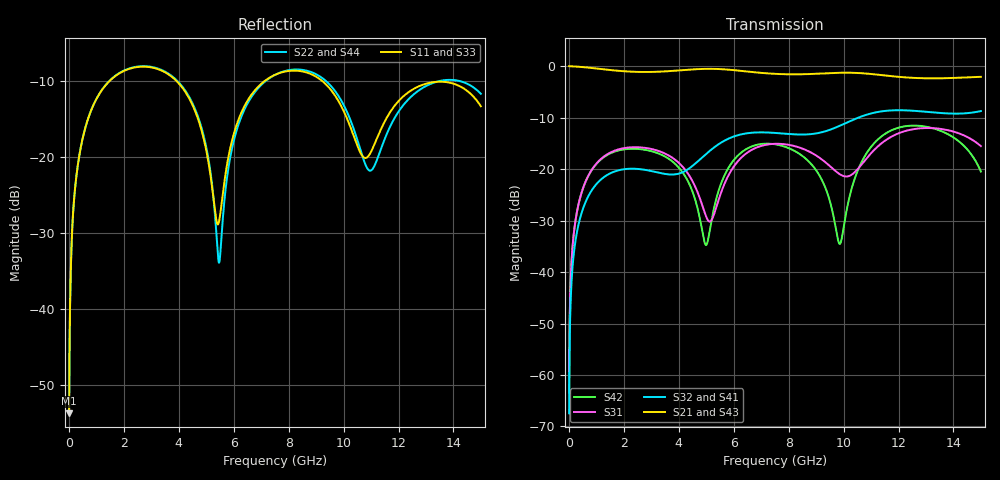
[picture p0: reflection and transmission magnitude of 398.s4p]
! Created with skrf 1.8.0 (http://scikit-rf.org).
# GHz S RI R 50.0
!freq ReS11 ImS11 ReS12 ImS12 ReS13 ImS13
! ReS14 ImS14
! ReS21 ImS21 ReS22 ImS22 ReS23 ImS23
! ReS24 ImS24
! ReS31 ImS31 ReS32 ImS32 ReS33 ImS33
! ReS34 ImS34
! ReS41 ImS41 ReS42 ImS42 ReS43 ImS43
! ReS44 ImS44
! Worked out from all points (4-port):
!   2499 points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, 5 MHz to 15 GHz, reference 50 ohm
!   strongest paths, dB at 5 MHz, 3.476 GHz, 7.19 GHz, 11.1 GHz, 15 GHz:
!     S21: 0.0, -1.0, -1.4, -1.6, -2.1
!     S43: 0.0, -1.0, -1.4, -1.6, -2.1
!     S32: -67.4, -20.9, -12.9, -9.1, -8.7
!     S41: -67.4, -21.1, -13.0, -9.1, -8.8
!     S31: -63.4, -16.9, -15.3, -16.4, -15.5
!     S42: -63.4, -17.5, -15.1, -15.1, -20.5
!   lowest |S11| = -53.7 dB at 5 MHz (marker M1), VSWR 1.00, Z = 50.2 + j0.125 ohm
!   |S11| at or under -10 dB: start of sweep to 1.493 GHz; 3.901 GHz to 7.146 GHz (3.245 GHz wide, 58.7 % of centre); 9.202 GHz to end of sweep
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0.005  0.00165 0.00125  0.9983 -0.00321  8.34e-05 0.000668  -8.08e-05 -0.000417
       0.9983 -0.00321  0.00165 0.00125  -8.08e-05 -0.000417  8.32e-05 0.000668
       8.34e-05 0.000668  -8.08e-05 -0.000417  0.00165 0.00125  0.9983 -0.00321
       -8.08e-05 -0.000417  8.32e-05 0.000668  0.9983 -0.00321  0.00165 0.00125
0.3126303  0.0242 0.0822  0.9669 -0.1996  0.0117 0.0396  -0.00942 -0.0244
           0.9669 -0.1996  0.0243 0.0822  -0.00943 -0.0244  0.011 0.0397
           0.0117 0.0396  -0.00943 -0.0244  0.0242 0.0822  0.9669 -0.1996
           -0.00942 -0.0244  0.011 0.0397  0.9669 -0.1996  0.0243 0.0822
1.519383  0.2637 0.1805  0.5598 -0.7231  0.1327 0.0589  -0.0908 -0.00805
          0.5598 -0.7231  0.2663 0.1788  -0.091 -0.00779  0.1244 0.0698
          0.1327 0.0589  -0.091 -0.00779  0.2636 0.1806  0.5598 -0.7231
          -0.0908 -0.00805  0.1244 0.0698  0.5598 -0.7231  0.2665 0.1787
5.464777  0.0365 0.00897  -0.9349 -0.0515  -0.0164 0.0491  -0.0073 0.1753
          -0.9349 -0.0515  0.0201 -0.000941  -0.00226 0.1754  0.0289 0.0566
          -0.0164 0.0491  -0.00226 0.1754  0.0378 0.00808  -0.9349 -0.0516
          -0.0073 0.1753  0.0289 0.0566  -0.9349 -0.0516  0.0192 -0.00144
8.466028  0.3623 -0.0356  0.0138 0.8328  0.1157 -0.1095  0.207 -0.0536
          0.0138 0.8328  0.3707 -0.036  0.2067 -0.0641  0.1195 -0.0652
          0.1157 -0.1095  0.2067 -0.0641  0.3613 -0.0336  0.0144 0.8326
          0.207 -0.0536  0.1195 -0.0652  0.0144 0.8326  0.3724 -0.0381
11.17341  0.1178 0.0465  0.8291 -0.00355  0.00467 0.1589  -0.0104 -0.3551
          0.8291 -0.00355  0.0889 0.0206  -0.0289 -0.3543  0.0599 0.1754
          0.00467 0.1589  -0.0289 -0.3543  0.1197 0.0419  0.829 -0.00465
          -0.0104 -0.3551  0.0599 0.1754  0.829 -0.00465  0.0884 0.0232
15  0.1818 -0.1139  -0.3659 -0.6966  0.0144 -0.1665  -0.3101 0.1869
    -0.3659 -0.6966  0.2195 -0.1375  -0.2944 0.217  0.069 -0.0646
    0.0144 -0.1665  -0.2944 0.217  0.1883 -0.1011  -0.3678 -0.6945
    -0.3101 0.1869  0.069 -0.0646  -0.3678 -0.6945  0.2196 -0.1505
